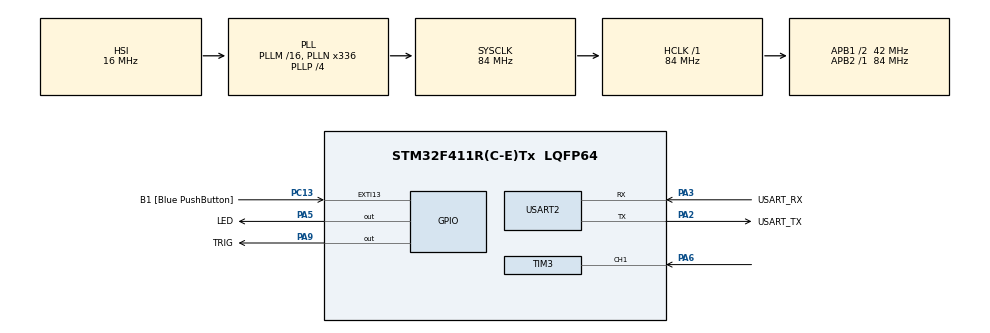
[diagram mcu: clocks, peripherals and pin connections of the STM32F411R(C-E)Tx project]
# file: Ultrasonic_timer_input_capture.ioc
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Mcu.Family=STM32F4
Mcu.Name=STM32F411R(C-E)Tx
Mcu.Package=LQFP64
NVIC.PriorityGroup=NVIC_PRIORITYGROUP_4
NVIC.TIM3_IRQn=true\:0\:0\:false\:false\:true\:true\:true
PA13.GPIO_Label=TMS
PA13.Signal=SYS_JTMS-SWDIO
PA14.GPIO_Label=TCK
PA14.Signal=SYS_JTCK-SWCLK
PA2.GPIO_Label=USART_TX
PA2.Mode=Asynchronous
PA2.Signal=USART2_TX
PA3.GPIO_Label=USART_RX
PA3.Mode=Asynchronous
PA3.Signal=USART2_RX
PA5.GPIO_Label=LED
PA5.Signal=GPIO_Output
PA6.Signal=S_TIM3_CH1
PA9.GPIO_Label=TRIG
PA9.Signal=GPIO_Output
PB3.GPIO_Label=SWO
PB3.Signal=SYS_JTDO-SWO
PC13-ANTI_TAMP.GPIO_Label=B1 [Blue PushButton]
PC13-ANTI_TAMP.GPIO_ModeDefaultEXTI=GPIO_MODE_IT_FALLING
PC13-ANTI_TAMP.Signal=GPXTI13
PC14-OSC32_IN.Signal=RCC_OSC32_IN
PC15-OSC32_OUT.Signal=RCC_OSC32_OUT
PH0\ -\ OSC_IN.Signal=RCC_OSC_IN
PH1\ -\ OSC_OUT.Signal=RCC_OSC_OUT
ProjectManager.HeapSize=0x200
ProjectManager.StackSize=0x400
ProjectManager.TargetToolchain=SW4STM32
RCC.48MHZClocksFreq_Value=84000000
RCC.AHBFreq_Value=84000000
RCC.APB1CLKDivider=RCC_HCLK_DIV2
RCC.APB1Freq_Value=42000000
RCC.APB1TimFreq_Value=84000000
RCC.APB2Freq_Value=84000000
RCC.APB2TimFreq_Value=84000000
RCC.CortexFreq_Value=84000000
RCC.FLatency-AdvancedSettings=FLASH_LATENCY_2
RCC.HCLKFreq_Value=84000000
RCC.HSE_VALUE=8000000
RCC.HSI_VALUE=16000000
RCC.LSE_VALUE=32768
RCC.PLLN=336
RCC.PLLP=RCC_PLLP_DIV4
RCC.SYSCLKFreq_VALUE=84000000
RCC.SYSCLKSource=RCC_SYSCLKSOURCE_PLLCLK
RCC.VCOOutputFreq_Value=336000000
SH.S_TIM3_CH1.0=TIM3_CH1,Input_Capture1_from_TI1
TIM3.Channel-Input_Capture1_from_TI1=TIM_CHANNEL_1
TIM3.ICFilter_CH1=4
TIM3.ICPolarity_CH1=TIM_INPUTCHANNELPOLARITY_BOTHEDGE
TIM3.Prescaler=84-1
TIM4.Prescaler=84-1
USART2.VirtualMode=VM_ASYNC
VP_TIM3_VS_ClockSourceINT.Mode=Internal
VP_TIM4_VS_ClockSourceINT.Mode=Internal
board=NUCLEO-F411RE

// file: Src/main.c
/* USER CODE BEGIN Header */
/**
  ******************************************************************************
  * @file           : main.c
  * @brief          : Main program body
  ******************************************************************************
  * @attention
  *
  * <h2><center>&copy; Copyright (c) 2019 STMicroelectronics.
  * All rights reserved.</center></h2>
  *
  * This software component is licensed by ST under BSD 3-Clause license,
  * the "License"; You may not use this file except in compliance with the
  * License. You may obtain a copy of the License at:
  *                        opensource.org/licenses/BSD-3-Clause
  * Bugs:
  * 1. The echo pin is PA6 (D12)
  * 2. htim3.Init.Period = 1000000 - 1; // CubeMX cannot generate correctly ... @@??
  ******************************************************************************
  */
/* USER CODE END Header */

#include "main.h"

/* USER CODE BEGIN Includes */
#include <string.h>
#include <stdio.h>
/* USER CODE END Includes */

/* USER CODE BEGIN PTD */
#define usTIM TIM4
/* USER CODE END PTD */

TIM_HandleTypeDef htim3;
TIM_HandleTypeDef htim4;

UART_HandleTypeDef huart2;

void SystemClock_Config(void);
static void MX_GPIO_Init(void);
static void MX_TIM4_Init(void);
static void MX_USART2_UART_Init(void);
static void MX_TIM3_Init(void);
/* USER CODE BEGIN PFP */
void usDelay(uint32_t uSec);
/* USER CODE END PFP */

/* USER CODE BEGIN 0 */
uint8_t icFlag = 0;
uint8_t captureIdx=0;
uint32_t edge1Time=0, edge2Time=0;

const float speedOfSound = 0.0343/2;
float distance;

char uartBuf[100];
/* USER CODE END 0 */

int main(void)
{

  /* MCU Configuration--------------------------------------------------------*/

  /* Reset of all peripherals, Initializes the Flash interface and the Systick. */
  HAL_Init();

  /* Configure the system clock */
  SystemClock_Config();

  /* Initialize all configured peripherals */
  MX_GPIO_Init();
  MX_TIM4_Init();
  MX_USART2_UART_Init();
  MX_TIM3_Init();
  /* USER CODE BEGIN 2 */

  sprintf(uartBuf, "\r\n\r\nDistance measurement: Echo captured by timer3\r\n");
  HAL_UART_Transmit(&huart2, (uint8_t *)uartBuf, strlen(uartBuf), 100);
  /* USER CODE END 2 */

  /* Infinite loop */
  while (1)
  {

    /* USER CODE BEGIN 3 */
	//Set TRIG to LOW for few uSec
	HAL_GPIO_WritePin(TRIG_GPIO_Port, TRIG_Pin, GPIO_PIN_RESET);
	usDelay(3);

	//*** START Ultrasonic measure routine ***//
	//1. Output 10 usec TRIG
	HAL_GPIO_WritePin(TRIG_GPIO_Port, TRIG_Pin, GPIO_PIN_SET);
	usDelay(10);
	HAL_GPIO_WritePin(TRIG_GPIO_Port, TRIG_Pin, GPIO_PIN_RESET);

	//2. ECHO signal pulse width

	//Start IC timer
	HAL_TIM_IC_Start_IT(&htim3, TIM_CHANNEL_1);
	//Wait for IC flag
	uint32_t startTick = HAL_GetTick();
	do {
		if(icFlag) break;
	} while((HAL_GetTick() - startTick) < 500);  //500ms

	icFlag = 0;
	HAL_TIM_IC_Stop_IT(&htim3, TIM_CHANNEL_1);

	//Calculate distance in cm
	if( edge2Time > edge1Time ){
		distance = ((edge2Time - edge1Time) + 0.0f)*speedOfSound;
	} else {
		distance = 0.0f;
	}

	//Print to UART terminal for debugging
	sprintf(uartBuf, "Distance (cm)  = %.2f\r\n", distance);
	HAL_UART_Transmit(&huart2, (uint8_t *)uartBuf, strlen(uartBuf), 100);

	HAL_Delay(500);
  }
  /* USER CODE END 3 */
}

void SystemClock_Config(void)
{
  RCC_OscInitTypeDef RCC_OscInitStruct = {0};
  RCC_ClkInitTypeDef RCC_ClkInitStruct = {0};

  /** Configure the main internal regulator output voltage
  */
  __HAL_RCC_PWR_CLK_ENABLE();
  __HAL_PWR_VOLTAGESCALING_CONFIG(PWR_REGULATOR_VOLTAGE_SCALE2);
  /** Initializes the CPU, AHB and APB busses clocks
  */
  RCC_OscInitStruct.OscillatorType = RCC_OSCILLATORTYPE_HSI;
  RCC_OscInitStruct.HSIState = RCC_HSI_ON;
  RCC_OscInitStruct.HSICalibrationValue = RCC_HSICALIBRATION_DEFAULT;
  RCC_OscInitStruct.PLL.PLLState = RCC_PLL_ON;
  RCC_OscInitStruct.PLL.PLLSource = RCC_PLLSOURCE_HSI;
  RCC_OscInitStruct.PLL.PLLM = 16;
  RCC_OscInitStruct.PLL.PLLN = 336;
  RCC_OscInitStruct.PLL.PLLP = RCC_PLLP_DIV4;
  RCC_OscInitStruct.PLL.PLLQ = 7;
  if (HAL_RCC_OscConfig(&RCC_OscInitStruct) != HAL_OK)
  {
    Error_Handler();
  }
  /** Initializes the CPU, AHB and APB busses clocks
  */
  RCC_ClkInitStruct.ClockType = RCC_CLOCKTYPE_HCLK|RCC_CLOCKTYPE_SYSCLK
                              |RCC_CLOCKTYPE_PCLK1|RCC_CLOCKTYPE_PCLK2;
  RCC_ClkInitStruct.SYSCLKSource = RCC_SYSCLKSOURCE_PLLCLK;
  RCC_ClkInitStruct.AHBCLKDivider = RCC_SYSCLK_DIV1;
  RCC_ClkInitStruct.APB1CLKDivider = RCC_HCLK_DIV2;
  RCC_ClkInitStruct.APB2CLKDivider = RCC_HCLK_DIV1;

  if (HAL_RCC_ClockConfig(&RCC_ClkInitStruct, FLASH_LATENCY_2) != HAL_OK)
  {
    Error_Handler();
  }
}

static void MX_TIM3_Init(void)
{

  TIM_ClockConfigTypeDef sClockSourceConfig = {0};
  TIM_MasterConfigTypeDef sMasterConfig = {0};
  TIM_IC_InitTypeDef sConfigIC = {0};

  htim3.Instance = TIM3;
  htim3.Init.Prescaler = 84-1;
  htim3.Init.CounterMode = TIM_COUNTERMODE_UP;
  htim3.Init.Period = 1000000-1; //1sec
  htim3.Init.ClockDivision = TIM_CLOCKDIVISION_DIV1;
  htim3.Init.AutoReloadPreload = TIM_AUTORELOAD_PRELOAD_DISABLE;
  if (HAL_TIM_Base_Init(&htim3) != HAL_OK)
  {
    Error_Handler();
  }
  sClockSourceConfig.ClockSource = TIM_CLOCKSOURCE_INTERNAL;
  if (HAL_TIM_ConfigClockSource(&htim3, &sClockSourceConfig) != HAL_OK)
  {
    Error_Handler();
  }
  if (HAL_TIM_IC_Init(&htim3) != HAL_OK)
  {
    Error_Handler();
  }
  sMasterConfig.MasterOutputTrigger = TIM_TRGO_RESET;
  sMasterConfig.MasterSlaveMode = TIM_MASTERSLAVEMODE_DISABLE;
  if (HAL_TIMEx_MasterConfigSynchronization(&htim3, &sMasterConfig) != HAL_OK)
  {
    Error_Handler();
  }
  sConfigIC.ICPolarity = TIM_INPUTCHANNELPOLARITY_BOTHEDGE;
  sConfigIC.ICSelection = TIM_ICSELECTION_DIRECTTI;
  sConfigIC.ICPrescaler = TIM_ICPSC_DIV1;
  sConfigIC.ICFilter = 4;
  if (HAL_TIM_IC_ConfigChannel(&htim3, &sConfigIC, TIM_CHANNEL_1) != HAL_OK)
  {
    Error_Handler();
  }

}

static void MX_TIM4_Init(void)
{

  TIM_ClockConfigTypeDef sClockSourceConfig = {0};
  TIM_MasterConfigTypeDef sMasterConfig = {0};

  htim4.Instance = TIM4;
  htim4.Init.Prescaler = 84-1;
  htim4.Init.CounterMode = TIM_COUNTERMODE_UP;
  htim4.Init.Period = 0;
  htim4.Init.ClockDivision = TIM_CLOCKDIVISION_DIV1;
  htim4.Init.AutoReloadPreload = TIM_AUTORELOAD_PRELOAD_DISABLE;
  if (HAL_TIM_Base_Init(&htim4) != HAL_OK)
  {
    Error_Handler();
  }
  sClockSourceConfig.ClockSource = TIM_CLOCKSOURCE_INTERNAL;
  if (HAL_TIM_ConfigClockSource(&htim4, &sClockSourceConfig) != HAL_OK)
  {
    Error_Handler();
  }
  sMasterConfig.MasterOutputTrigger = TIM_TRGO_RESET;
  sMasterConfig.MasterSlaveMode = TIM_MASTERSLAVEMODE_DISABLE;
  if (HAL_TIMEx_MasterConfigSynchronization(&htim4, &sMasterConfig) != HAL_OK)
  {
    Error_Handler();
  }

}

static void MX_USART2_UART_Init(void)
{

  huart2.Instance = USART2;
  huart2.Init.BaudRate = 115200;
  huart2.Init.WordLength = UART_WORDLENGTH_8B;
  huart2.Init.StopBits = UART_STOPBITS_1;
  huart2.Init.Parity = UART_PARITY_NONE;
  huart2.Init.Mode = UART_MODE_TX_RX;
  huart2.Init.HwFlowCtl = UART_HWCONTROL_NONE;
  huart2.Init.OverSampling = UART_OVERSAMPLING_16;
  if (HAL_UART_Init(&huart2) != HAL_OK)
  {
    Error_Handler();
  }

}

static void MX_GPIO_Init(void)
{
  GPIO_InitTypeDef GPIO_InitStruct = {0};

  /* GPIO Ports Clock Enable */
  __HAL_RCC_GPIOC_CLK_ENABLE();
  __HAL_RCC_GPIOA_CLK_ENABLE();

  /*Configure GPIO pin Output Level */
  HAL_GPIO_WritePin(GPIOA, LED_Pin|TRIG_Pin, GPIO_PIN_RESET);

  /*Configure GPIO pin : Button_Pin */
  GPIO_InitStruct.Pin = B1_Pin;
  GPIO_InitStruct.Mode = GPIO_MODE_INPUT;
  GPIO_InitStruct.Pull = GPIO_NOPULL;
  HAL_GPIO_Init(B1_GPIO_Port, &GPIO_InitStruct);

  /*Configure GPIO pins : LED_Pin TRIG_Pin */
  GPIO_InitStruct.Pin = LED_Pin|TRIG_Pin;
  GPIO_InitStruct.Mode = GPIO_MODE_OUTPUT_PP;
  GPIO_InitStruct.Pull = GPIO_NOPULL;
  GPIO_InitStruct.Speed = GPIO_SPEED_FREQ_LOW;
  HAL_GPIO_Init(GPIOA, &GPIO_InitStruct);

}

/* USER CODE BEGIN 4 */
void usDelay(uint32_t uSec)
{
	if(uSec < 2) uSec = 2;
	usTIM->ARR = uSec - 1; 	/*sets the value in the auto-reload register*/
	usTIM->EGR = 1; 			/*Re-initialises the timer*/
	usTIM->SR &= ~1; 		//Resets the flag
	usTIM->CR1 |= 1; 		//Enables the counter
	while((usTIM->SR&0x0001) != 1);
	usTIM->SR &= ~(0x0001);
}

void HAL_TIM_IC_CaptureCallback(TIM_HandleTypeDef *htim)
{

	HAL_GPIO_TogglePin(LED_GPIO_Port, LED_Pin);

		if(captureIdx == 0) //Fisrt edge
		{
			edge1Time = HAL_TIM_ReadCapturedValue(htim, TIM_CHANNEL_1); //__HAL_TIM_GetCounter(&htim3);//

			captureIdx = 1;
		}
		else if(captureIdx == 1) //Second edge
		{
			edge2Time = HAL_TIM_ReadCapturedValue(htim, TIM_CHANNEL_1);
			captureIdx = 0;
			icFlag = 1;
		}
}
/* USER CODE END 4 */

void Error_Handler(void)
{
}

/************************ (C) COPYRIGHT STMicroelectronics *****END OF FILE****/
